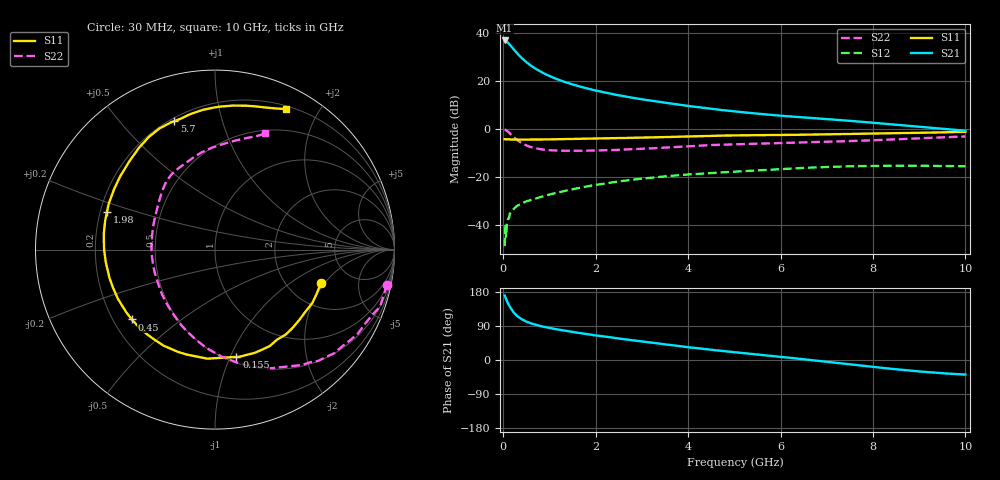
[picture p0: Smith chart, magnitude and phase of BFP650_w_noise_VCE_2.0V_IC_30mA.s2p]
! Infineon Technologies  Discrete & RF Semiconductors
! BFP650
! VCE =  2.0 V,  IC =  30 mA
! Common Emitter S-Parameters:  Jan 2016
# GHz  S  MA  R  50
!  f  S11  S21  S12  S22
! GHz  MAG  ANG  MAG  ANG  MAG  ANG  MAG  ANG
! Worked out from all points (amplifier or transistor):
!   229 points, 30 MHz to 10 GHz, reference 50 ohm
!   highest |S21| = 37.1 dB at 30 MHz (marker M1)
!   |S21| within 3 dB of that: start of sweep to 196.5 MHz
!   unconditionally stable (mu >= 1): 2.295 GHz to end of sweep
!   at 280 MHz: K = 0.32, MSG = 32.3 dB, |S12| = -32.3 dB
!   at 1.78 GHz: K = 0.96, MSG = 20.6 dB, |S12| = -24.1 dB
!   at 10 GHz: K = 1.04, MAG = 6.2 dB, |S12| = -15.5 dB
!   lowest NFmin = 0.77 dB at 450 MHz
!   S11 on the Smith chart (normalised r, x): 30 MHz: 3.03, -1.84; 155 MHz: 0.55, -1.06; 450 MHz: 0.28, -0.34; 1.98 GHz: 0.23, +0.16; 5.7 GHz: 0.22, +0.71; 10 GHz: 0.23, +1.60
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0.03  0.6186 -17.7  71.27 170.2  0.0036 86.7  0.9782 -11.6
0.06  0.611 -34.6  69.51 161.3  0.0057 71.7  0.9481 -22.7
0.08  0.6145 -45.7  67.12 155.4  0.0112 67.3  0.923 -30.5
0.11  0.6177 -60.4  63.09 147.7  0.0133 68.9  0.8801 -41.0
0.14  0.6124 -73.1  58.55 140.9  0.0172 61.2  0.8215 -49.8
0.155  0.6097 -78.7  56.25 138.1  0.0176 62.0  0.7962 -54.1
0.2  0.6091 -94.1  50.02 129.5  0.0201 54.2  0.7247 -66.1
0.24  0.6056 -105.0  45.01 123.7  0.0223 52.4  0.6663 -74.8
0.3  0.6071 -118.3  38.58 116.3  0.025 49.6  0.5958 -86.7
0.36  0.6047 -128.4  33.47 110.8  0.0268 47.4  0.5416 -96.4
0.45  0.6055 -140.0  27.68 104.2  0.0296 45.6  0.4825 -108.7
0.6  0.6066 -153.2  21.21 96.6  0.033 44.6  0.4223 -125.0
0.9  0.6094 -169.3  14.27 87.0  0.0403 45.9  0.3711 -147.8
1.2  0.6177 -179.9  10.73 79.9  0.0477 46.0  0.3566 -163.4
1.7  0.6307 167.0  7.572 70.3  0.0608 44.4  0.354 178.4
1.98  0.6376 160.8  6.481 65.3  0.0681 43.7  0.3572 170.6
3.4  0.6802 135.9  3.683 43.0  0.1013 31.9  0.4067 140.8
5.1  0.7432 113.6  2.299 19.4  0.1311 16.6  0.4868 118.7
5.7  0.7504 107.6  2.025 12.0  0.1412 11.5  0.5027 111.3
6.8  0.7748 97.2  1.68 -1.9  0.1597 0.8  0.5391 99.8
8.4  0.8206 77.6  1.261 -23.3  0.1721 -16.2  0.6078 81.5
10  0.8787 63.1  0.927 -38.5  0.1684 -28.6  0.7039 66.8
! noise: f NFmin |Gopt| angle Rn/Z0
0.45  0.77  0.08  132  2.09
0.9  0.79  0.3  -172  0.08
1.9  0.94  0.34  -160  0.06
2.4  1.01  0.35  -148  0.07
3.5  1.23  0.38  -125  0.12
